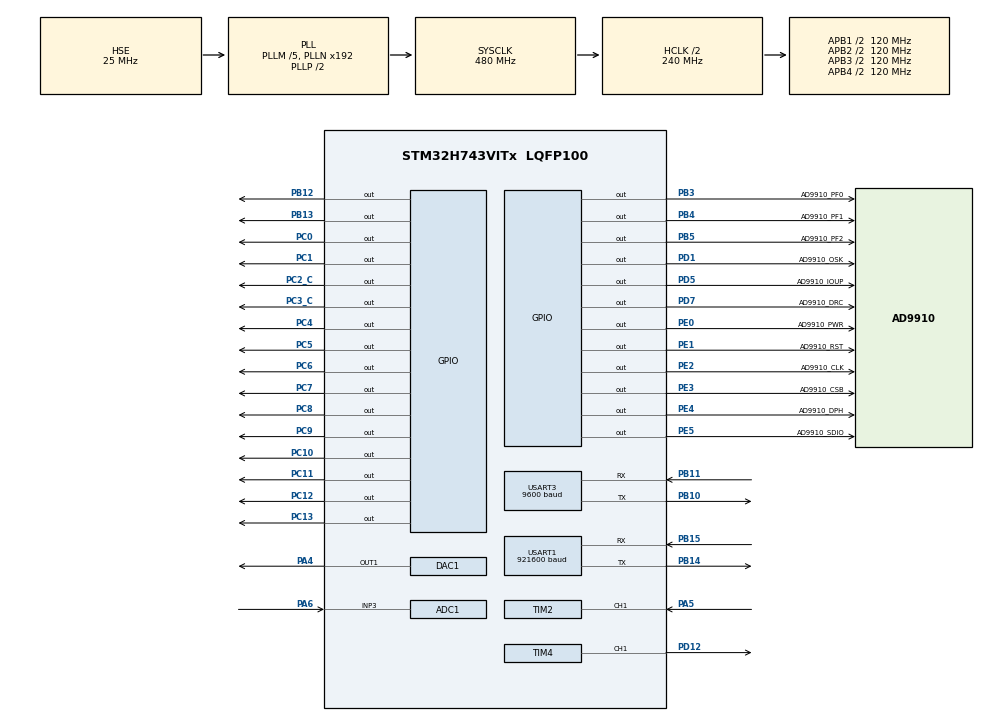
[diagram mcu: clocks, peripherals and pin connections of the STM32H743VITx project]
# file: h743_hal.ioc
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ADC1.Channel-0\#ChannelRegularConversion=ADC_CHANNEL_3
ADC1.ConversionDataManagement=ADC_CONVERSIONDATA_DMA_CIRCULAR
ADC1.ExternalTrigConv=ADC_EXTERNALTRIG_T4_TRGO
ADC1.NbrOfConversionFlag=1
ADC1.OffsetNumber-0\#ChannelRegularConversion=ADC_OFFSET_NONE
ADC1.OffsetSignedSaturation-0\#ChannelRegularConversion=DISABLE
ADC1.Overrun=ADC_OVR_DATA_OVERWRITTEN
ADC1.Rank-0\#ChannelRegularConversion=1
ADC1.Resolution=ADC_RESOLUTION_12B
ADC1.SamplingTime-0\#ChannelRegularConversion=ADC_SAMPLETIME_1CYCLE_5
ADC1.master=1
CORTEX_M7.AccessPermission_Spec=MPU_REGION_FULL_ACCESS
CORTEX_M7.BaseAddress_Spec=0x24000000
CORTEX_M7.CPU_DCache=Enabled
CORTEX_M7.CPU_ICache=Enabled
CORTEX_M7.DisableExec_Spec=MPU_INSTRUCTION_ACCESS_ENABLE
CORTEX_M7.IsShareable_Spec=MPU_ACCESS_NOT_SHAREABLE
CORTEX_M7.Size_Spec=MPU_REGION_SIZE_128KB
CORTEX_M7.SubRegionDisable_Spec=0x00
CORTEX_M7.TypeExtField_Spec=MPU_TEX_LEVEL1
CORTEX_M7.default_mode_Activation=1
DAC1.DAC1_OutputBuffer-DAC_OUT1=DAC_OUTPUTBUFFER_DISABLE
DAC1.DAC_Channel-DAC_OUT1=DAC_CHANNEL_1
DAC1.DAC_Trigger-DAC_OUT1=DAC_TRIGGER_T6_TRGO
Dma.ADC1.0.Direction=DMA_PERIPH_TO_MEMORY
Dma.ADC1.0.EventEnable=DISABLE
Dma.ADC1.0.FIFOMode=DMA_FIFOMODE_DISABLE
Dma.ADC1.0.Instance=DMA1_Stream0
Dma.ADC1.0.MemDataAlignment=DMA_MDATAALIGN_HALFWORD
Dma.ADC1.0.MemInc=DMA_MINC_ENABLE
Dma.ADC1.0.Mode=DMA_CIRCULAR
Dma.ADC1.0.PeriphDataAlignment=DMA_PDATAALIGN_HALFWORD
Dma.ADC1.0.PeriphInc=DMA_PINC_DISABLE
Dma.ADC1.0.Polarity=HAL_DMAMUX_REQ_GEN_RISING
Dma.ADC1.0.Priority=DMA_PRIORITY_VERY_HIGH
Dma.ADC1.0.RequestNumber=1
Dma.ADC1.0.SignalID=NONE
Dma.ADC1.0.SyncEnable=DISABLE
Dma.ADC1.0.SyncPolarity=HAL_DMAMUX_SYNC_NO_EVENT
Dma.ADC1.0.SyncRequestNumber=1
Dma.ADC1.0.SyncSignalID=NONE
Dma.DAC1_CH1.3.Direction=DMA_MEMORY_TO_PERIPH
Dma.DAC1_CH1.3.EventEnable=DISABLE
Dma.DAC1_CH1.3.FIFOMode=DMA_FIFOMODE_DISABLE
Dma.DAC1_CH1.3.Instance=DMA1_Stream3
Dma.DAC1_CH1.3.MemDataAlignment=DMA_MDATAALIGN_HALFWORD
Dma.DAC1_CH1.3.MemInc=DMA_MINC_ENABLE
Dma.DAC1_CH1.3.Mode=DMA_CIRCULAR
Dma.DAC1_CH1.3.PeriphDataAlignment=DMA_PDATAALIGN_HALFWORD
Dma.DAC1_CH1.3.PeriphInc=DMA_PINC_DISABLE
Dma.DAC1_CH1.3.Polarity=HAL_DMAMUX_REQ_GEN_RISING
Dma.DAC1_CH1.3.Priority=DMA_PRIORITY_LOW
Dma.DAC1_CH1.3.RequestNumber=1
Dma.DAC1_CH1.3.SignalID=NONE
Dma.DAC1_CH1.3.SyncEnable=DISABLE
Dma.DAC1_CH1.3.SyncPolarity=HAL_DMAMUX_SYNC_NO_EVENT
Dma.DAC1_CH1.3.SyncRequestNumber=1
Dma.DAC1_CH1.3.SyncSignalID=NONE
Dma.Request0=ADC1
Dma.Request1=USART1_RX
Dma.Request2=USART3_RX
Dma.Request3=DAC1_CH1
Dma.Request4=TIM3_UP
Dma.Request5=TIM4_CH1
Dma.TIM3_UP.4.Direction=DMA_PERIPH_TO_MEMORY
Dma.TIM3_UP.4.EventEnable=DISABLE
Dma.TIM3_UP.4.FIFOMode=DMA_FIFOMODE_DISABLE
Dma.TIM3_UP.4.Instance=DMA1_Stream4
Dma.TIM3_UP.4.MemDataAlignment=DMA_MDATAALIGN_HALFWORD
Dma.TIM3_UP.4.MemInc=DMA_MINC_ENABLE
Dma.TIM3_UP.4.Mode=DMA_CIRCULAR
Dma.TIM3_UP.4.PeriphDataAlignment=DMA_PDATAALIGN_HALFWORD
Dma.TIM3_UP.4.PeriphInc=DMA_PINC_DISABLE
Dma.TIM3_UP.4.Polarity=HAL_DMAMUX_REQ_GEN_RISING
Dma.TIM3_UP.4.Priority=DMA_PRIORITY_LOW
Dma.TIM3_UP.4.RequestNumber=1
Dma.TIM3_UP.4.SignalID=NONE
Dma.TIM3_UP.4.SyncEnable=DISABLE
Dma.TIM3_UP.4.SyncPolarity=HAL_DMAMUX_SYNC_NO_EVENT
Dma.TIM3_UP.4.SyncRequestNumber=1
Dma.TIM3_UP.4.SyncSignalID=NONE
Dma.TIM4_CH1.5.Direction=DMA_MEMORY_TO_PERIPH
Dma.TIM4_CH1.5.EventEnable=DISABLE
Dma.TIM4_CH1.5.FIFOMode=DMA_FIFOMODE_DISABLE
Dma.TIM4_CH1.5.Instance=DMA1_Stream5
Dma.TIM4_CH1.5.MemDataAlignment=DMA_MDATAALIGN_HALFWORD
Dma.TIM4_CH1.5.MemInc=DMA_MINC_ENABLE
Dma.TIM4_CH1.5.Mode=DMA_CIRCULAR
Dma.TIM4_CH1.5.PeriphDataAlignment=DMA_PDATAALIGN_HALFWORD
Dma.TIM4_CH1.5.PeriphInc=DMA_PINC_DISABLE
Dma.TIM4_CH1.5.Polarity=HAL_DMAMUX_REQ_GEN_RISING
Dma.TIM4_CH1.5.Priority=DMA_PRIORITY_VERY_HIGH
Dma.TIM4_CH1.5.RequestNumber=1
Dma.TIM4_CH1.5.SignalID=NONE
Dma.TIM4_CH1.5.SyncEnable=DISABLE
Dma.TIM4_CH1.5.SyncPolarity=HAL_DMAMUX_SYNC_NO_EVENT
Dma.TIM4_CH1.5.SyncRequestNumber=1
Dma.TIM4_CH1.5.SyncSignalID=NONE
Dma.USART1_RX.1.Direction=DMA_PERIPH_TO_MEMORY
Dma.USART1_RX.1.EventEnable=DISABLE
Dma.USART1_RX.1.FIFOMode=DMA_FIFOMODE_DISABLE
Dma.USART1_RX.1.Instance=DMA1_Stream1
Dma.USART1_RX.1.MemDataAlignment=DMA_MDATAALIGN_BYTE
Dma.USART1_RX.1.MemInc=DMA_MINC_ENABLE
Dma.USART1_RX.1.Mode=DMA_NORMAL
Dma.USART1_RX.1.PeriphDataAlignment=DMA_PDATAALIGN_BYTE
Dma.USART1_RX.1.PeriphInc=DMA_PINC_DISABLE
Dma.USART1_RX.1.Polarity=HAL_DMAMUX_REQ_GEN_RISING
Dma.USART1_RX.1.Priority=DMA_PRIORITY_LOW
Dma.USART1_RX.1.RequestNumber=1
Dma.USART1_RX.1.SignalID=NONE
Dma.USART1_RX.1.SyncEnable=DISABLE
Dma.USART1_RX.1.SyncPolarity=HAL_DMAMUX_SYNC_NO_EVENT
Dma.USART1_RX.1.SyncRequestNumber=1
Dma.USART1_RX.1.SyncSignalID=NONE
Dma.USART3_RX.2.Direction=DMA_PERIPH_TO_MEMORY
Dma.USART3_RX.2.EventEnable=DISABLE
Dma.USART3_RX.2.FIFOMode=DMA_FIFOMODE_DISABLE
Dma.USART3_RX.2.Instance=DMA1_Stream2
Dma.USART3_RX.2.MemDataAlignment=DMA_MDATAALIGN_BYTE
Dma.USART3_RX.2.MemInc=DMA_MINC_ENABLE
Dma.USART3_RX.2.Mode=DMA_NORMAL
Dma.USART3_RX.2.PeriphDataAlignment=DMA_PDATAALIGN_BYTE
Dma.USART3_RX.2.PeriphInc=DMA_PINC_DISABLE
Dma.USART3_RX.2.Polarity=HAL_DMAMUX_REQ_GEN_RISING
Dma.USART3_RX.2.Priority=DMA_PRIORITY_LOW
Dma.USART3_RX.2.RequestNumber=1
Dma.USART3_RX.2.SignalID=NONE
Dma.USART3_RX.2.SyncEnable=DISABLE
Dma.USART3_RX.2.SyncPolarity=HAL_DMAMUX_SYNC_NO_EVENT
Dma.USART3_RX.2.SyncRequestNumber=1
Dma.USART3_RX.2.SyncSignalID=NONE
Mcu.Family=STM32H7
Mcu.Name=STM32H743VITx
Mcu.Package=LQFP100
NVIC.DMA1_Stream0_IRQn=true\:0\:0\:false\:false\:true\:false\:true\:true
NVIC.DMA1_Stream1_IRQn=true\:0\:0\:false\:false\:true\:false\:true\:true
NVIC.DMA1_Stream2_IRQn=true\:0\:0\:false\:false\:true\:false\:true\:true
NVIC.DMA1_Stream3_IRQn=true\:0\:0\:false\:false\:true\:false\:true\:true
NVIC.DMA1_Stream4_IRQn=true\:0\:0\:false\:false\:true\:false\:true\:true
NVIC.DMA1_Stream5_IRQn=true\:0\:0\:false\:false\:true\:false\:true\:true
NVIC.PriorityGroup=NVIC_PRIORITYGROUP_4
NVIC.USART3_IRQn=true\:0\:0\:false\:false\:true\:true\:true\:true
PA13\ (JTMS/SWDIO).Mode=Serial_Wire
PA13\ (JTMS/SWDIO).Signal=DEBUG_JTMS-SWDIO
PA14\ (JTCK/SWCLK).Mode=Serial_Wire
PA14\ (JTCK/SWCLK).Signal=DEBUG_JTCK-SWCLK
PA4.Signal=COMP_DAC11_group
PA5.Signal=S_TIM2_CH1_ETR
PA6.Signal=ADCx_INP3
PB10.Mode=Asynchronous
PB10.Signal=USART3_TX
PB11.Mode=Asynchronous
PB11.Signal=USART3_RX
PB12.Signal=GPIO_Output
PB13.Signal=GPIO_Output
PB14.Mode=Asynchronous
PB14.Signal=USART1_TX
PB15.Mode=Asynchronous
PB15.Signal=USART1_RX
PB3\ (JTDO/TRACESWO).GPIO_Label=AD9910_PF0
PB3\ (JTDO/TRACESWO).Signal=GPIO_Output
PB4\ (NJTRST).GPIO_Label=AD9910_PF1
PB4\ (NJTRST).Signal=GPIO_Output
PB5.GPIO_Label=AD9910_PF2
PB5.Signal=GPIO_Output
PC0.GPIO_Speed=GPIO_SPEED_FREQ_VERY_HIGH
PC0.Signal=GPIO_Output
PC1.GPIO_Speed=GPIO_SPEED_FREQ_VERY_HIGH
PC1.Signal=GPIO_Output
PC10.GPIO_Speed=GPIO_SPEED_FREQ_VERY_HIGH
PC10.Signal=GPIO_Output
PC11.GPIO_Speed=GPIO_SPEED_FREQ_VERY_HIGH
PC11.Signal=GPIO_Output
PC12.GPIO_Speed=GPIO_SPEED_FREQ_VERY_HIGH
PC12.Signal=GPIO_Output
PC13.Signal=GPIO_Output
PC2_C.GPIO_Speed=GPIO_SPEED_FREQ_VERY_HIGH
PC2_C.Signal=GPIO_Output
PC3_C.GPIO_Speed=GPIO_SPEED_FREQ_VERY_HIGH
PC3_C.Signal=GPIO_Output
PC4.GPIO_Speed=GPIO_SPEED_FREQ_VERY_HIGH
PC4.Signal=GPIO_Output
PC5.GPIO_Speed=GPIO_SPEED_FREQ_VERY_HIGH
PC5.Signal=GPIO_Output
PC6.GPIO_Speed=GPIO_SPEED_FREQ_VERY_HIGH
PC6.Signal=GPIO_Output
PC7.GPIO_Speed=GPIO_SPEED_FREQ_VERY_HIGH
PC7.Signal=GPIO_Output
PC8.GPIO_Speed=GPIO_SPEED_FREQ_VERY_HIGH
PC8.Signal=GPIO_Output
PC9.GPIO_Speed=GPIO_SPEED_FREQ_VERY_HIGH
PC9.Signal=GPIO_Output
PD1.GPIO_Label=AD9910_OSK
PD1.Signal=GPIO_Output
PD12.GPIO_Speed=GPIO_SPEED_FREQ_VERY_HIGH
PD12.Signal=S_TIM4_CH1
PD5.GPIO_Label=AD9910_IOUP
PD5.Signal=GPIO_Output
PD7.GPIO_Label=AD9910_DRC
PD7.Signal=GPIO_Output
PE0.GPIO_Label=AD9910_PWR
PE0.Signal=GPIO_Output
PE1.GPIO_Label=AD9910_RST
PE1.Signal=GPIO_Output
PE2.GPIO_Label=AD9910_CLK
PE2.GPIO_Speed=GPIO_SPEED_FREQ_VERY_HIGH
PE2.Signal=GPIO_Output
PE3.GPIO_Label=AD9910_CSB
PE3.Signal=GPIO_Output
PE4.GPIO_Label=AD9910_DPH
PE4.Signal=GPIO_Output
PE5.GPIO_Label=AD9910_SDIO
PE5.Signal=GPIO_Output
PH0-OSC_IN\ (PH0).Mode=HSE-External-Oscillator
PH0-OSC_IN\ (PH0).Signal=RCC_OSC_IN
PH1-OSC_OUT\ (PH1).Mode=HSE-External-Oscillator
PH1-OSC_OUT\ (PH1).Signal=RCC_OSC_OUT
ProjectManager.HeapSize=0x200
ProjectManager.StackSize=0x400
ProjectManager.TargetToolchain=MDK-ARM V5.32
RCC.ADCFreq_Value=75000000
RCC.APB1Freq_Value=120000000
RCC.APB2Freq_Value=120000000
RCC.APB3Freq_Value=120000000
RCC.APB4Freq_Value=120000000
RCC.CortexFreq_Value=480000000
RCC.D1PPRE=RCC_APB3_DIV2
RCC.D2PPRE1=RCC_APB1_DIV2
RCC.D2PPRE2=RCC_APB2_DIV2
RCC.D3PPRE=RCC_APB4_DIV2
RCC.DIVM1=5
RCC.DIVM2=2
RCC.DIVN1=192
RCC.DIVN2=12
RCC.HCLKFreq_Value=240000000
RCC.HPRE=RCC_HCLK_DIV2
RCC.PLL2FRACN=0
RCC.PLL3FRACN=0
RCC.PLLFRACN=0
RCC.PLLSourceVirtual=RCC_PLLSOURCE_HSE
RCC.SYSCLKFreq_VALUE=480000000
RCC.SYSCLKSource=RCC_SYSCLKSOURCE_PLLCLK
RCC.USBFreq_Value=480000000
SH.ADCx_INP3.0=ADC1_INP3,IN3-Single-Ended
SH.COMP_DAC11_group.0=DAC1_OUT1,DAC_OUT1
SH.S_TIM2_CH1_ETR.0=TIM2_CH1,TriggerSource_TI1FP1
SH.S_TIM2_CH1_ETR.1=TIM2_CH1,Input_Capture1_from_TI1
SH.S_TIM4_CH1.0=TIM4_CH1,PWM Generation1 CH1
TIM2.AutoReloadPreload=TIM_AUTORELOAD_PRELOAD_ENABLE
TIM2.Channel-Input_Capture1_from_TI1=TIM_CHANNEL_1
TIM2.Period=0xFFFFFFFF
TIM2.Prescaler=0
TIM3.AutoReloadPreload=TIM_AUTORELOAD_PRELOAD_ENABLE
TIM3.Period=60-1
TIM4.AutoReloadPreload=TIM_AUTORELOAD_PRELOAD_ENABLE
TIM4.Channel-PWM\ Generation1\ CH1=TIM_CHANNEL_1
TIM4.Period=60-1
TIM4.Pulse-PWM\ Generation1\ CH1=30
TIM4.TIM_MasterOutputTrigger=TIM_TRGO_UPDATE
TIM6.AutoReloadPreload=TIM_AUTORELOAD_PRELOAD_ENABLE
TIM6.Period=10-1
TIM6.Prescaler=24-1
TIM6.TIM_MasterOutputTrigger=TIM_TRGO_UPDATE
USART1.BaudRate=921600
USART1.VirtualMode-Asynchronous=VM_ASYNC
USART3.BaudRate=9600
USART3.VirtualMode-Asynchronous=VM_ASYNC
VP_MEMORYMAP_VS_MEMORYMAP.Mode=CurAppReg
VP_TIM2_VS_ControllerModeReset.Mode=Reset Mode
VP_TIM3_VS_ClockSourceINT.Mode=Internal
VP_TIM4_VS_ClockSourceINT.Mode=Internal
VP_TIM6_VS_ClockSourceINT.Mode=Enable_Timer
board=custom

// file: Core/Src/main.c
/* USER CODE BEGIN Header */
/**
  ******************************************************************************
  * @file           : main.c
  * @brief          : Main program body
  ******************************************************************************
  * @attention
  *
  * Copyright (c) 2026 STMicroelectronics.
  * All rights reserved.
  *
  * This software is licensed under terms that can be found in the LICENSE file
  * in the root directory of this software component.
  * If no LICENSE file comes with this software, it is provided AS-IS.
  *
  ******************************************************************************
  */
/* USER CODE END Header */
#include "main.h"
#include "adc.h"
#include "dac.h"
#include "dma.h"
#include "tim.h"
#include "usart.h"
#include "gpio.h"

/* USER CODE BEGIN Includes */
#include "app_types.h"
#include "freq_measure.h"
#include "scheduler.h"
#include "serial.h"
#include "adc_app.h"
#include "ad9910.h"
/* USER CODE END Includes */

/* USER CODE BEGIN PV */

Wave_Struct   g_wave_info;
FreqMeasure   g_freq_measure;

/* USER CODE END PV */

void SystemClock_Config(void);
static void MPU_Config(void);

int main(void)
{

  /* MPU Configuration--------------------------------------------------------*/
  MPU_Config();

  /* Enable the CPU Cache */

  /* Enable I-Cache---------------------------------------------------------*/
  SCB_EnableICache();

  /* Enable D-Cache---------------------------------------------------------*/
  SCB_EnableDCache();

  /* MCU Configuration--------------------------------------------------------*/

  /* Reset of all peripherals, Initializes the Flash interface and the Systick. */
  HAL_Init();

  /* Configure the system clock */
  SystemClock_Config();

  /* Initialize all configured peripherals */
  MX_GPIO_Init();
  MX_DMA_Init();
  MX_ADC1_Init();
  MX_TIM2_Init();
  MX_USART3_UART_Init();
  MX_USART1_UART_Init();
  MX_DAC1_Init();
  MX_TIM6_Init();
  MX_TIM3_Init();
  MX_TIM4_Init();
  /* USER CODE BEGIN 2 */
  Serial_RxInit(&huart1);
  Serial_RxInit(&huart3);
  FreqMeasure_Init(&g_freq_measure, &htim2);
  Init_AD9910();

  Scheduler_Init();
  if (ADC_DAC_Stream_Start() != HAL_OK)
  {
    Error_Handler();
  }

  /* USER CODE END 2 */

  /* Infinite loop */
  /* USER CODE BEGIN WHILE */
  while (1)
  {
      adc_proc();
      // Scheduler_Run();
    /* USER CODE END WHILE */

  }
}

void SystemClock_Config(void)
{
  RCC_OscInitTypeDef RCC_OscInitStruct = {0};
  RCC_ClkInitTypeDef RCC_ClkInitStruct = {0};

  /** Supply configuration update enable
  */
  HAL_PWREx_ConfigSupply(PWR_LDO_SUPPLY);

  /** Configure the main internal regulator output voltage
  */
  __HAL_PWR_VOLTAGESCALING_CONFIG(PWR_REGULATOR_VOLTAGE_SCALE0);

  while(!__HAL_PWR_GET_FLAG(PWR_FLAG_VOSRDY)) {}

  /** Initializes the RCC Oscillators according to the specified parameters
  * in the RCC_OscInitTypeDef structure.
  */
  RCC_OscInitStruct.OscillatorType = RCC_OSCILLATORTYPE_HSE;
  RCC_OscInitStruct.HSEState = RCC_HSE_ON;
  RCC_OscInitStruct.PLL.PLLState = RCC_PLL_ON;
  RCC_OscInitStruct.PLL.PLLSource = RCC_PLLSOURCE_HSE;
  RCC_OscInitStruct.PLL.PLLM = 5;
  RCC_OscInitStruct.PLL.PLLN = 192;
  RCC_OscInitStruct.PLL.PLLP = 2;
  RCC_OscInitStruct.PLL.PLLQ = 2;
  RCC_OscInitStruct.PLL.PLLR = 2;
  RCC_OscInitStruct.PLL.PLLRGE = RCC_PLL1VCIRANGE_2;
  RCC_OscInitStruct.PLL.PLLVCOSEL = RCC_PLL1VCOWIDE;
  RCC_OscInitStruct.PLL.PLLFRACN = 0;
  if (HAL_RCC_OscConfig(&RCC_OscInitStruct) != HAL_OK)
  {
    Error_Handler();
  }

  /** Initializes the CPU, AHB and APB buses clocks
  */
  RCC_ClkInitStruct.ClockType = RCC_CLOCKTYPE_HCLK|RCC_CLOCKTYPE_SYSCLK
                              |RCC_CLOCKTYPE_PCLK1|RCC_CLOCKTYPE_PCLK2
                              |RCC_CLOCKTYPE_D3PCLK1|RCC_CLOCKTYPE_D1PCLK1;
  RCC_ClkInitStruct.SYSCLKSource = RCC_SYSCLKSOURCE_PLLCLK;
  RCC_ClkInitStruct.SYSCLKDivider = RCC_SYSCLK_DIV1;
  RCC_ClkInitStruct.AHBCLKDivider = RCC_HCLK_DIV2;
  RCC_ClkInitStruct.APB3CLKDivider = RCC_APB3_DIV2;
  RCC_ClkInitStruct.APB1CLKDivider = RCC_APB1_DIV2;
  RCC_ClkInitStruct.APB2CLKDivider = RCC_APB2_DIV2;
  RCC_ClkInitStruct.APB4CLKDivider = RCC_APB4_DIV2;

  if (HAL_RCC_ClockConfig(&RCC_ClkInitStruct, FLASH_LATENCY_4) != HAL_OK)
  {
    Error_Handler();
  }
}

/* USER CODE BEGIN 4 */

/* 10ms周期*/
void Task_10ms(uint16_t ticks)
{
    (void)ticks;
    Serial_Process();
}

/* 100ms周期 */
void Task_100ms(void)
{
    FreqMeasure_Process(&g_freq_measure, &g_wave_info);
}

/* 1秒周期*/
void Task_1sec(void)
{
}

/* 1分钟周期*/
void Task_1min(void)
{
}

/* USER CODE END 4 */

 /* MPU Configuration */

void MPU_Config(void)
{
  MPU_Region_InitTypeDef MPU_InitStruct = {0};

  /* Disables the MPU */
  HAL_MPU_Disable();

  /** Initializes and configures the Region and the memory to be protected
  */
  MPU_InitStruct.Enable = MPU_REGION_ENABLE;
  MPU_InitStruct.Number = MPU_REGION_NUMBER0;
  MPU_InitStruct.BaseAddress = 0x24000000;
  MPU_InitStruct.Size = MPU_REGION_SIZE_128KB;
  MPU_InitStruct.SubRegionDisable = 0x00;
  MPU_InitStruct.TypeExtField = MPU_TEX_LEVEL1;
  MPU_InitStruct.AccessPermission = MPU_REGION_FULL_ACCESS;
  MPU_InitStruct.DisableExec = MPU_INSTRUCTION_ACCESS_ENABLE;
  MPU_InitStruct.IsShareable = MPU_ACCESS_NOT_SHAREABLE;
  MPU_InitStruct.IsCacheable = MPU_ACCESS_NOT_CACHEABLE;
  MPU_InitStruct.IsBufferable = MPU_ACCESS_NOT_BUFFERABLE;

  HAL_MPU_ConfigRegion(&MPU_InitStruct);
  /* Enables the MPU */
  HAL_MPU_Enable(MPU_PRIVILEGED_DEFAULT);

}

void Error_Handler(void)
{
  __disable_irq();
  while (1)
  {
  }
}
